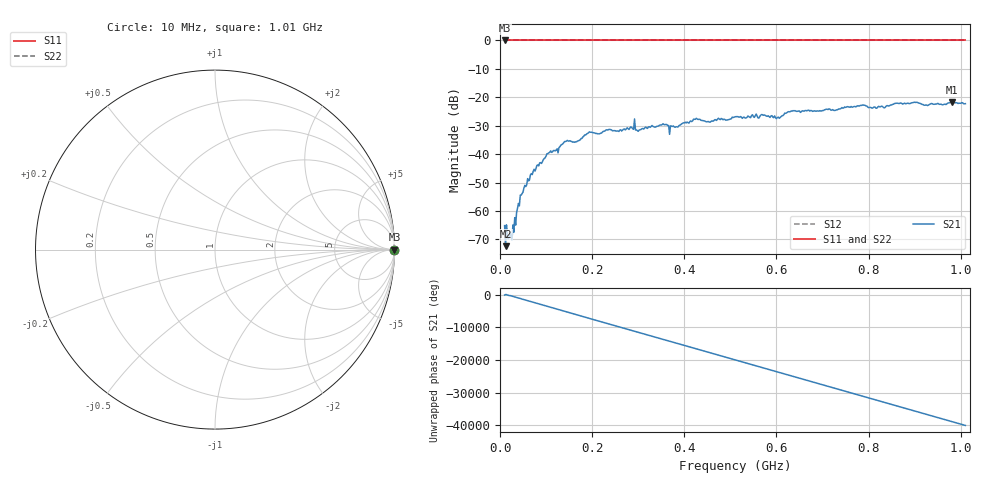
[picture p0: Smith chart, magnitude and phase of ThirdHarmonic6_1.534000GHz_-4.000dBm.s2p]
! 8/16/2025 6:09:48 PM
! C:\ANRITSUVNA\TEMP\TEMP.S2P
! CHANNEL.1
! TR.MEASUREMENT
! RAW.DATA
! RF.CORRECTION.OFF
! AVERAGING.OFF
! IF.BANDWIDTH: 5KHZ
! SWEEPTYPE:  FREQ.SWEEP(Linear)
! Reference Plane Port Info
! PORT:  PORT1  PORT2
! DISTANCE:  0  m  0  m
! TIME:  0  s  0  s
! PHASE.OFFSET:  0  deg.  0  deg.
! LOSS:  0  dB  0  dB
! REF.LOSS:  0  dB  0  dB
! REF.FREQ:  0  Hz  0  Hz
! Power Info
! POWER:  -20  dBm  -20  dBm
! EFF.POWER:  -20  dBm  -20  dBm
! SOURCE.ATTEN:  0  dB  0  dB
! TEST.ATTEN:  0  dB  0  dB
# GHZ S RI R 50.0
! FREQ.GHZ  S11RE  S11IM  S21RE  S21IM  S12RE  S12IM  S22RE  S22IM
!; PortSelection: Port_12
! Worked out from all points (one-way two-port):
!   501 points, 10 MHz to 1.01 GHz, reference 50 ohm
!   highest |S21| = -21.72 dB at 980 MHz (marker M1); lowest = -72.4 dB at 12 MHz (marker M2)
!   lowest |S11| = 0.0 dB at 10 MHz (marker M3)
!   |S11| at or under -10 dB: nowhere
!   |S22| runs from 0.0 to 0.0 dB; largest |S21 - S12| = 1.1
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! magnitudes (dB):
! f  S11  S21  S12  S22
! 10 MHz  0.0  -65.1  0.0  0.0
! 12 MHz  0.0  -72.4  0.0  0.0
! 22 MHz  0.0  -67.5  0.0  0.0
! 30 MHz  0.0  -67.5  0.0  0.0
! 40 MHz  0.0  -57.3  0.0  0.0
! 48 MHz  0.0  -53.9  0.0  0.0
! 84 MHz  0.0  -44.1  0.0  0.0
! 106 MHz  0.0  -39.5  0.0  0.0
! 142 MHz  0.0  -35.5  0.0  0.0
! 178 MHz  0.0  -34.4  0.0  0.0
! 196 MHz  0.0  -32.3  0.0  0.0
! 344 MHz  0.0  -30.1  0.0  0.0
! 372 MHz  0.0  -30.1  0.0  0.0
! 424 MHz  0.0  -27.7  0.0  0.0
! 452 MHz  0.0  -28.5  0.0  0.0
! 510 MHz  0.0  -26.9  0.0  0.0
! 604 MHz  0.0  -27.0  0.0  0.0
! 636 MHz  0.0  -24.7  0.0  0.0
! 678 MHz  0.0  -24.9  0.0  0.0
! 844 MHz  0.0  -23.0  0.0  0.0
! 980 MHz  0.0  -21.7  0.0  0.0
! 1.01 GHz  0.0  -22.2  0.0  0.0
